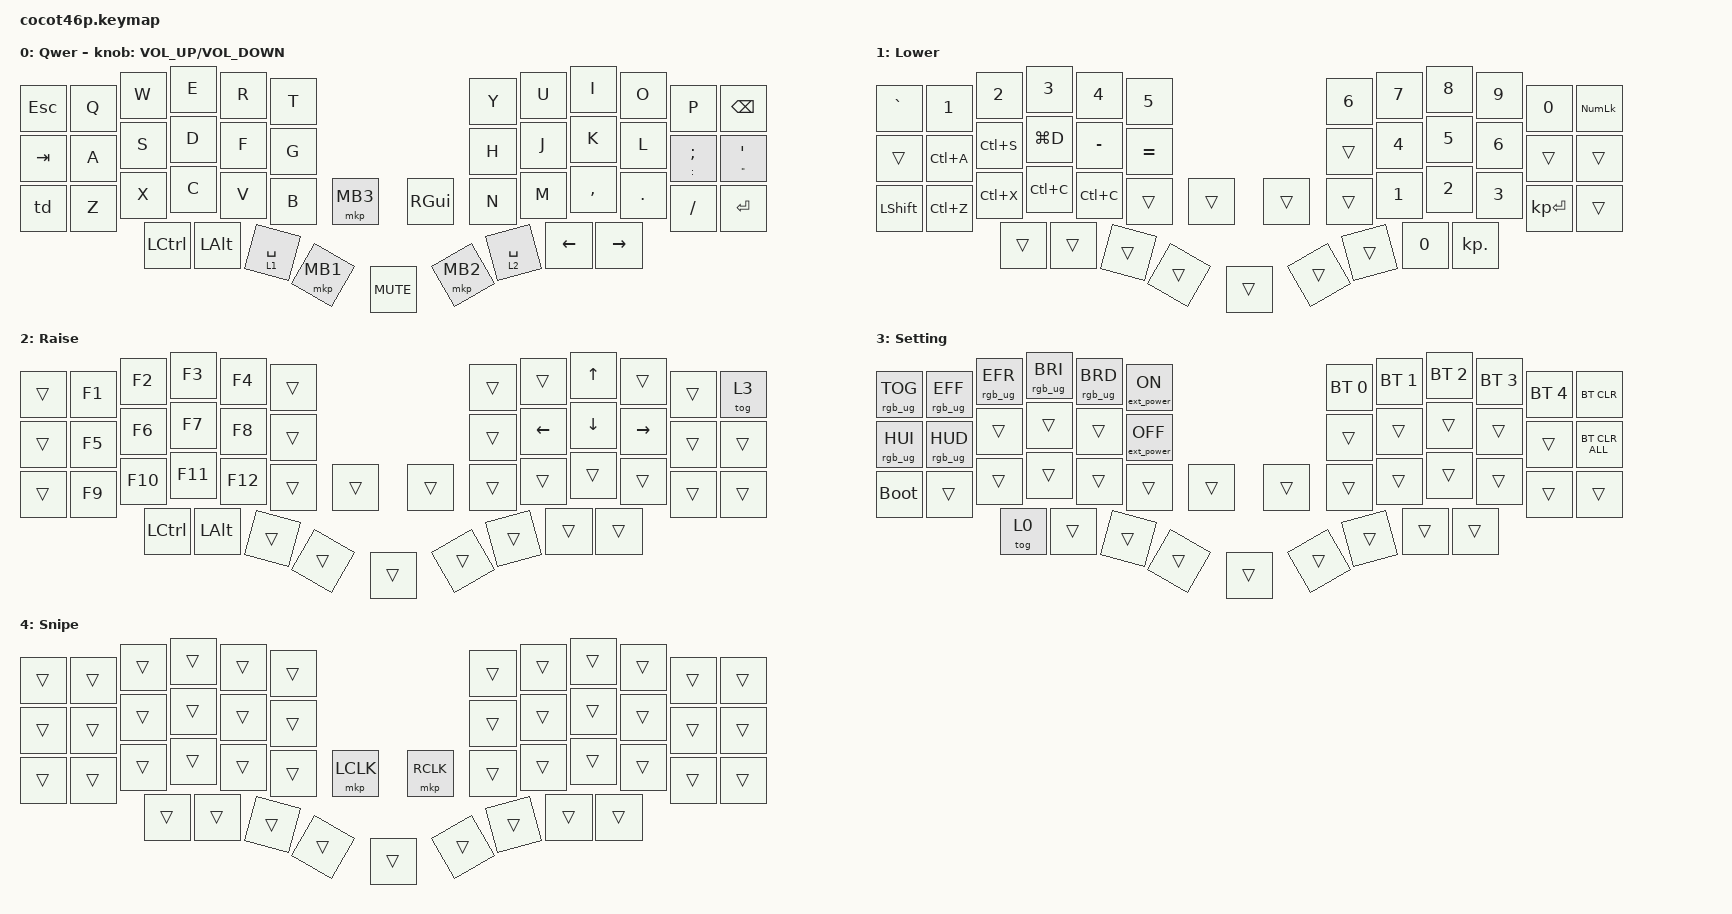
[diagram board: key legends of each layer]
/*
 * Copyright (c) 2021 The ZMK Contributors
 *
 * SPDX-License-Identifier: MIT
 */

#include <behaviors/mouse_keys.dtsi>
#include <dt-bindings/zmk/mouse.h>
#include <behaviors.dtsi>
#include <dt-bindings/zmk/bt.h>
#include <dt-bindings/zmk/ext_power.h>
#include <dt-bindings/zmk/keys.h>
#include <dt-bindings/zmk/pointing.h>
#include <dt-bindings/zmk/rgb.h>

/ {
    combos {
        compatible = "zmk,combos";

        left_bkt {
            bindings = <&kp LEFT_BRACKET>;
            key-positions = <3 4>;
        };

        right_bkt {
            bindings = <&kp RIGHT_BRACKET>;
            key-positions = <7 8>;
        };

        left_brace {
            bindings = <&kp LEFT_BRACE>;
            key-positions = <27 28>;
        };

        right_brace {
            bindings = <&kp RIGHT_BRACE>;
            key-positions = <33 34>;
        };

        left_par {
            bindings = <&kp LEFT_PARENTHESIS>;
            key-positions = <15 16>;
        };

        right_par {
            bindings = <&kp RIGHT_PARENTHESIS>;
            key-positions = <19 20>;
        };

        pipe {
            bindings = <&kp PIPE>;
            key-positions = <5 6>;
        };

        back_slash {
            bindings = <&kp BACKSLASH>;
            key-positions = <17 18>;
        };

        win_space {
            bindings = <&kp LG(SPACE)>;
            key-positions = <40 43>;
        };
    };

    behaviors {
        as: auto_shift {
            compatible = "zmk,behavior-hold-tap";
            label = "AUTO_SHIFT";
            bindings = <&kp>, <&kp>;

            #binding-cells = <2>;
            tapping-term-ms = <135>;
            quick-tap-ms = <0>;
        };

        td: shift_cap {
            compatible = "zmk,behavior-tap-dance";
            label = "tapdance";
            #binding-cells = <0>;
            bindings = <&kp LEFT_SHIFT>, <&kp CAPS>;
        };
    };

    keymap {
        compatible = "zmk,keymap";

        Qwer {
            bindings = <
&kp ESCAPE  &kp Q  &kp W  &kp E      &kp R         &kp T                                 &kp Y        &kp U     &kp I      &kp O       &kp P                &kp BSPC
&kp TAB     &kp A  &kp S  &kp D      &kp F         &kp G                                 &kp H        &kp J     &kp K      &kp L       &as COLON SEMICOLON  &as DOUBLE_QUOTES SINGLE_QUOTE
&td         &kp Z  &kp X  &kp C      &kp V         &kp B        &mkp MB3  &kp RIGHT_GUI  &kp N        &kp M     &kp COMMA  &kp PERIOD  &kp SLASH            &kp ENTER
                          &kp LCTRL  &kp LEFT_ALT  &lt 1 SPACE  &mkp MB1  &mkp MB2       &lt 2 SPACE  &kp LEFT  &kp RIGHT  &kp C_MUTE
            >;

            sensor-bindings = <&inc_dec_kp C_VOLUME_UP C_VOLUME_DOWN>;
            label = "Qwer";
        };

        Lower {
            bindings = <
&kp GRAVE       &kp NUMBER_1  &kp NUMBER_2  &kp NUMBER_3  &kp NUMBER_4  &kp N5                     &kp NUMBER_6  &kp N7        &kp N8        &kp N9        &kp N0        &kp KP_NUMLOCK
&trans          &kp LC(A)     &kp LC(S)     &kp LG(D)     &kp MINUS     &kp EQUAL                  &trans        &kp NUMBER_4  &kp N5        &kp NUMBER_6  &trans        &trans
&kp LEFT_SHIFT  &kp LC(Z)     &kp LC(X)     &kp LC(C)     &kp LC(C)     &trans     &trans  &trans  &trans        &kp NUMBER_1  &kp NUMBER_2  &kp NUMBER_3  &kp KP_ENTER  &trans
                                            &trans        &trans        &trans     &trans  &trans  &trans        &kp N0        &kp KP_DOT    &trans
            >;

            label = "Lower";
        };

        Raise {
            bindings = <
&trans  &kp F1  &kp F2   &kp F3     &kp F4        &trans                  &trans  &trans    &kp UP_ARROW    &trans     &trans  &tog 3
&trans  &kp F5  &kp F6   &kp F7     &kp F8        &trans                  &trans  &kp LEFT  &kp DOWN_ARROW  &kp RIGHT  &trans  &trans
&trans  &kp F9  &kp F10  &kp F11    &kp F12       &trans  &trans  &trans  &trans  &trans    &trans          &trans     &trans  &trans
                         &kp LCTRL  &kp LEFT_ALT  &trans  &trans  &trans  &trans  &trans    &trans          &trans
            >;

            label = "Raise";
        };

        Setting {
            bindings = <
&rgb_ug RGB_TOG  &rgb_ug RGB_EFF  &rgb_ug RGB_EFR  &rgb_ug RGB_BRI  &rgb_ug RGB_BRD  &ext_power EP_ON                   &bt BT_SEL 0  &bt BT_SEL 1  &bt BT_SEL 2  &bt BT_SEL 3  &bt BT_SEL 4  &bt BT_CLR
&rgb_ug RGB_HUI  &rgb_ug RGB_HUD  &trans           &trans           &trans           &ext_power EP_OFF                  &trans        &trans        &trans        &trans        &trans        &bt BT_CLR_ALL
&bootloader      &trans           &trans           &trans           &trans           &trans             &trans  &trans  &trans        &trans        &trans        &trans        &trans        &trans
                                                   &tog 0           &trans           &trans             &trans  &trans  &trans        &trans        &trans        &trans
            >;

            label = "Setting";
        };

        Snipe {
            bindings = <
&trans  &trans  &trans  &trans  &trans  &trans                        &trans  &trans  &trans  &trans  &trans  &trans
&trans  &trans  &trans  &trans  &trans  &trans                        &trans  &trans  &trans  &trans  &trans  &trans
&trans  &trans  &trans  &trans  &trans  &trans  &mkp LCLK  &mkp RCLK  &trans  &trans  &trans  &trans  &trans  &trans
                        &trans  &trans  &trans  &trans     &trans     &trans  &trans  &trans  &trans
            >;

            label = "Snipe";
        };
    };
};
